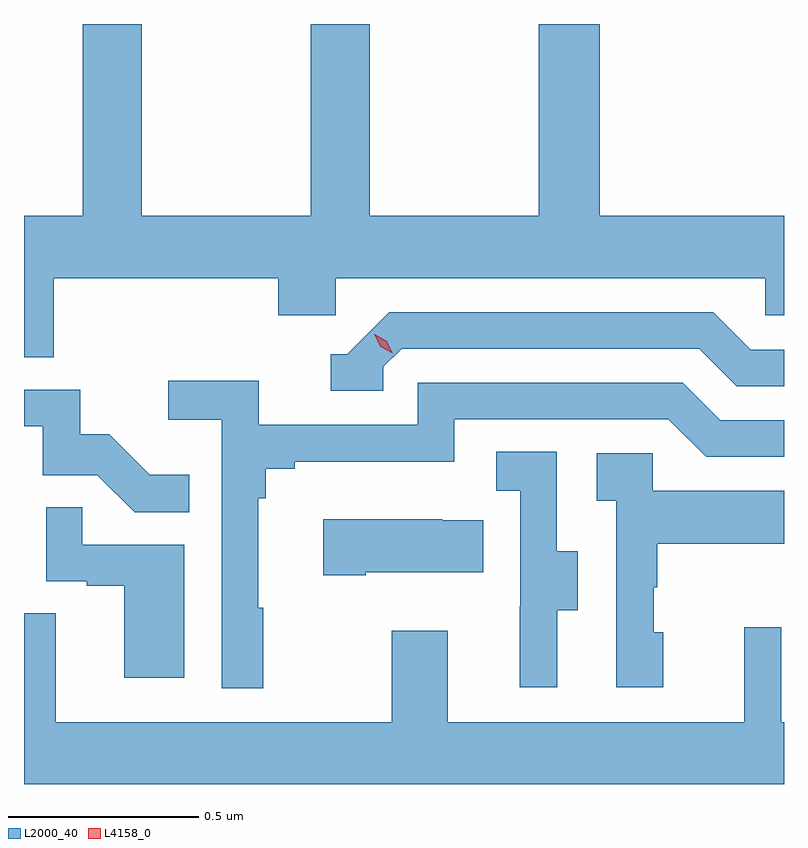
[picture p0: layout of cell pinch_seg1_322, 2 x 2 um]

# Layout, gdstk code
import gdstk
lib = gdstk.Library(unit=1e-6, precision=1e-09)
def P(c, l, *ps):  # polygons
    for p in ps: c.add(gdstk.Polygon(p, *l))
L2000_40 = (2000, 40)
L4158_0 = (4158, 0)

pinch_seg1_322 = lib.new_cell('pinch_seg1_322')
P(pinch_seg1_322, L2000_40, [(1000.1,549.068),(1000.691,549.068),(1000.691,548.97),(1000.842,548.97),(1000.842,549.068),(1001.973,549.068),(1001.973,548.97),(1002.022,548.97),(1002.022,549.232),(1001.537,549.232),(1001.537,549.737),(1001.377,549.737),(1001.377,549.232),(1000.932,549.232),(1000.932,549.737),(1000.777,549.737),(1000.777,549.232),(1000.332,549.232),(1000.332,549.737),(1000.177,549.737),(1000.177,549.232),(1000.022,549.232),(1000.022,548.86),(1000.1,548.86)],
  [(1000.968,548.835),(1001.016,548.883),(1001.799,548.883),(1001.898,548.784),(1002.022,548.784),(1002.022,548.88),(1001.935,548.88),(1001.836,548.979),(1000.983,548.979),(1000.872,548.868),(1000.829,548.868),(1000.829,548.772),(1000.968,548.772)],
  [(1000.651,548.201),(1000.639,548.201),(1000.639,548.489),(1000.658,548.489),(1000.658,548.566),(1000.735,548.566),(1000.735,548.585),(1001.154,548.585),(1001.154,548.697),(1001.718,548.697),(1001.817,548.598),(1002.022,548.598),(1002.022,548.694),(1001.854,548.694),(1001.755,548.793),(1001.058,548.793),(1001.058,548.682),(1000.64,548.682),(1000.64,548.798),(1000.401,548.798),(1000.401,548.696),(1000.542,548.696),(1000.542,547.989),(1000.651,547.989)],
  [(1000.457,548.551),(1000.353,548.551),(1000.246,548.658),(1000.17,548.658),(1000.17,548.775),(1000.022,548.775),(1000.022,548.679),(1000.071,548.679),(1000.071,548.55),(1000.215,548.55),(1000.313,548.452),(1000.457,548.452)],
  [(1001.425,548.194),(1001.479,548.194),(1001.479,548.349),(1001.424,548.349),(1001.424,548.612),(1001.265,548.612),(1001.265,548.509),(1001.328,548.509),(1001.328,548.205),(1001.327,548.205),(1001.327,547.992),(1001.425,547.992)],
  [(1001.704,548.136),(1001.679,548.136),(1001.679,548.255),(1001.689,548.255),(1001.689,548.369),(1002.022,548.369),(1002.022,548.509),(1001.676,548.509),(1001.676,548.607),(1001.529,548.607),(1001.529,548.483),(1001.58,548.483),(1001.58,547.992),(1001.704,547.992)],
  [(1000.444,548.367),(1000.175,548.367),(1000.175,548.465),(1000.08,548.465),(1000.08,548.271),(1000.187,548.271),(1000.187,548.259),(1000.286,548.259),(1000.286,548.016),(1000.444,548.016)],
  [(1000.921,548.294),(1001.231,548.294),(1001.231,548.431),(1001.123,548.431),(1001.123,548.434),(1000.809,548.434),(1000.809,548.287),(1000.921,548.287)],
  [(1002.022,547.9),(1002.015,547.9),(1002.015,548.149),(1001.918,548.149),(1001.918,547.9),(1001.137,547.9),(1001.137,548.14),(1000.99,548.14),(1000.99,547.9),(1000.105,547.9),(1000.105,548.186),(1000.022,548.186),(1000.022,547.737),(1002.022,547.737)])
P(pinch_seg1_322, L4158_0, [(1000.992,548.87),(1000.961,548.888),(1000.944,548.92),(1000.944,548.921),(1000.945,548.921),(1000.976,548.902),(1000.992,548.87),(1000.992,548.87)])

lib.write_gds('pinch_seg1_322.gds')
